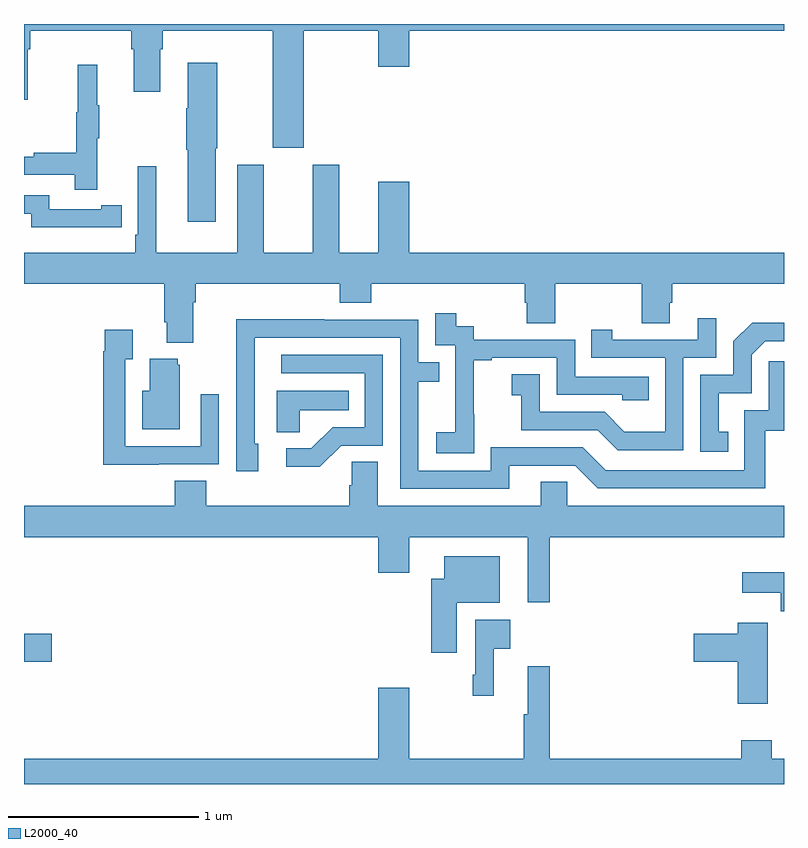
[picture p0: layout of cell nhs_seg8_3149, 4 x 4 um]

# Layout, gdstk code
import gdstk
lib = gdstk.Library(unit=1e-6, precision=1e-09)
def R(c, l, rs):  # rectangles x0, y0, x1, y1
    for r in rs: c.add(gdstk.rectangle(r[:2], r[2:], *l))
def P(c, l, *ps):  # polygons
    for p in ps: c.add(gdstk.Polygon(p, *l))
L2000_40 = (2000, 40)

nhs_seg8_3149 = lib.new_cell('nhs_seg8_3149')
R(nhs_seg8_3149, L2000_40, [(307,1082.543,307.147,1082.69)])
P(nhs_seg8_3149, L2000_40, [(308.473,1085.864),(308.864,1085.864),(308.864,1085.676),(309.028,1085.676),(309.028,1085.864),(311,1085.864),(311,1085.9),(307,1085.9),(307,1085.502),(307.021,1085.502),(307.021,1085.768),(307.034,1085.768),(307.034,1085.864),(307.565,1085.864),(307.565,1085.768),(307.577,1085.768),(307.577,1085.544),(307.717,1085.544),(307.717,1085.768),(307.73,1085.768),(307.73,1085.864),(308.309,1085.864),(308.309,1085.25),(308.473,1085.25)],
  [(308.008,1085.245),(308.016,1085.245),(308.016,1085.695),(307.862,1085.695),(307.862,1085.456),(307.855,1085.456),(307.855,1085.239),(307.862,1085.239),(307.862,1084.86),(308.008,1084.86)],
  [(307.385,1085.299),(307.396,1085.299),(307.396,1085.473),(307.385,1085.473),(307.385,1085.686),(307.282,1085.686),(307.282,1085.436),(307.275,1085.436),(307.275,1085.222),(307.051,1085.222),(307.051,1085.202),(307,1085.202),(307,1085.106),(307.267,1085.106),(307.267,1085.028),(307.385,1085.028)],
  [(307.891,1084.436),(307.904,1084.436),(307.904,1084.532),(308.663,1084.532),(308.663,1084.433),(308.828,1084.433),(308.828,1084.532),(309.635,1084.532),(309.635,1084.434),(309.647,1084.434),(309.647,1084.324),(309.795,1084.324),(309.795,1084.532),(310.252,1084.532),(310.252,1084.324),(310.399,1084.324),(310.399,1084.434),(310.412,1084.434),(310.412,1084.532),(311,1084.532),(311,1084.696),(309.028,1084.696),(309.028,1085.071),(308.864,1085.071),(308.864,1084.696),(308.659,1084.696),(308.659,1085.158),(308.519,1085.158),(308.519,1084.696),(308.263,1084.696),(308.263,1085.158),(308.123,1085.158),(308.123,1084.696),(307.696,1084.696),(307.696,1085.152),(307.599,1085.152),(307.599,1084.792),(307.586,1084.792),(307.586,1084.696),(307,1084.696),(307,1084.532),(307.739,1084.532),(307.739,1084.33),(307.751,1084.33),(307.751,1084.223),(307.891,1084.223)],
  [(307.406,1084.83),(307.514,1084.83),(307.514,1084.946),(307.406,1084.946),(307.406,1084.926),(307.134,1084.926),(307.134,1084.998),(307,1084.998),(307,1084.902),(307.038,1084.902),(307.038,1084.829),(307.406,1084.829)],
  [(309.369,1083.847),(309.368,1083.847),(309.368,1084.131),(309.463,1084.131),(309.463,1084.143),(309.804,1084.143),(309.804,1083.948),(310.149,1083.948),(310.149,1083.921),(310.289,1083.921),(310.289,1084.044),(309.9,1084.044),(309.9,1084.239),(309.366,1084.239),(309.366,1084.308),(309.274,1084.308),(309.274,1084.378),(309.165,1084.378),(309.165,1084.209),(309.27,1084.209),(309.27,1083.98),(309.269,1083.98),(309.269,1083.751),(309.171,1083.751),(309.171,1083.641),(309.369,1083.641)],
  [(310.47,1084.143),(310.644,1084.143),(310.644,1084.351),(310.547,1084.351),(310.547,1084.239),(310.096,1084.239),(310.096,1084.291),(309.985,1084.291),(309.985,1084.143),(310.374,1084.143),(310.374,1083.754),(310.16,1083.754),(310.056,1083.858),(309.714,1083.858),(309.714,1084.057),(309.567,1084.057),(309.567,1083.947),(309.616,1083.947),(309.616,1083.762),(310.019,1083.762),(310.124,1083.657),(310.47,1083.657)],
  [(309.553,1083.576),(309.9,1083.576),(310.02,1083.456),(310.9,1083.456),(310.9,1083.759),(311,1083.759),(311,1084.126),(310.92,1084.126),(310.92,1083.867),(310.791,1083.867),(310.791,1083.552),(310.062,1083.552),(309.942,1083.672),(309.456,1083.672),(309.456,1083.549),(309.075,1083.549),(309.075,1084.018),(309.185,1084.018),(309.185,1084.119),(309.075,1084.119),(309.075,1084.344),(308.579,1084.344),(308.579,1084.346),(308.116,1084.346),(308.116,1084.039),(308.118,1084.039),(308.118,1083.546),(308.233,1083.546),(308.233,1083.69),(308.214,1083.69),(308.214,1084.248),(308.979,1084.248),(308.979,1083.453),(309.553,1083.453)],
  [(310.706,1083.753),(310.657,1083.753),(310.657,1083.957),(310.83,1083.957),(310.83,1084.158),(310.902,1084.23),(311,1084.23),(311,1084.328),(310.832,1084.328),(310.734,1084.23),(310.734,1084.053),(310.56,1084.053),(310.56,1083.648),(310.706,1083.648)],
  [(307.709,1083.582),(308.025,1083.582),(308.025,1083.952),(307.929,1083.952),(307.929,1083.678),(307.533,1083.678),(307.533,1084.135),(307.573,1084.135),(307.573,1084.291),(307.425,1084.291),(307.425,1084.178),(307.417,1084.178),(307.417,1083.581),(307.709,1083.581)],
  [(308.67,1083.681),(308.889,1083.681),(308.889,1084.158),(308.355,1084.158),(308.355,1084.062),(308.793,1084.062),(308.793,1083.777),(308.624,1083.777),(308.513,1083.666),(308.379,1083.666),(308.379,1083.569),(308.557,1083.569)],
  [(307.819,1084.107),(307.808,1084.107),(307.808,1084.138),(307.661,1084.138),(307.661,1083.97),(307.622,1083.97),(307.622,1083.767),(307.819,1083.767)],
  [(308.451,1083.866),(308.708,1083.866),(308.708,1083.97),(308.33,1083.97),(308.33,1083.751),(308.451,1083.751)],
  [(309.767,1083.2),(311,1083.2),(311,1083.364),(309.858,1083.364),(309.858,1083.491),(309.719,1083.491),(309.719,1083.364),(308.863,1083.364),(308.863,1083.596),(308.724,1083.596),(308.724,1083.473),(308.711,1083.473),(308.711,1083.364),(307.958,1083.364),(307.958,1083.497),(307.793,1083.497),(307.793,1083.364),(307,1083.364),(307,1083.2),(308.864,1083.2),(308.864,1083.012),(309.028,1083.012),(309.028,1083.2),(309.65,1083.2),(309.65,1082.856),(309.767,1082.856)],
  [(309.277,1082.855),(309.505,1082.855),(309.505,1083.1),(309.212,1083.1),(309.212,1082.98),(309.143,1082.98),(309.143,1082.592),(309.277,1082.592)],
  [(311,1083.014),(310.779,1083.014),(310.779,1082.906),(310.984,1082.906),(310.984,1082.81),(311,1082.81)],
  [(309.473,1082.612),(309.559,1082.612),(309.559,1082.764),(309.375,1082.764),(309.375,1082.476),(309.363,1082.476),(309.363,1082.364),(309.473,1082.364)],
  [(310.915,1082.749),(310.757,1082.749),(310.757,1082.69),(310.524,1082.69),(310.524,1082.543),(310.757,1082.543),(310.757,1082.322),(310.915,1082.322)],
  [(311,1082.032),(310.935,1082.032),(310.935,1082.131),(310.775,1082.131),(310.775,1082.032),(309.767,1082.032),(309.767,1082.521),(309.65,1082.521),(309.65,1082.268),(309.631,1082.268),(309.631,1082.032),(309.028,1082.032),(309.028,1082.407),(308.864,1082.407),(308.864,1082.032),(307,1082.032),(307,1081.9),(311,1081.9)])

lib.write_gds('nhs_seg8_3149.gds')
